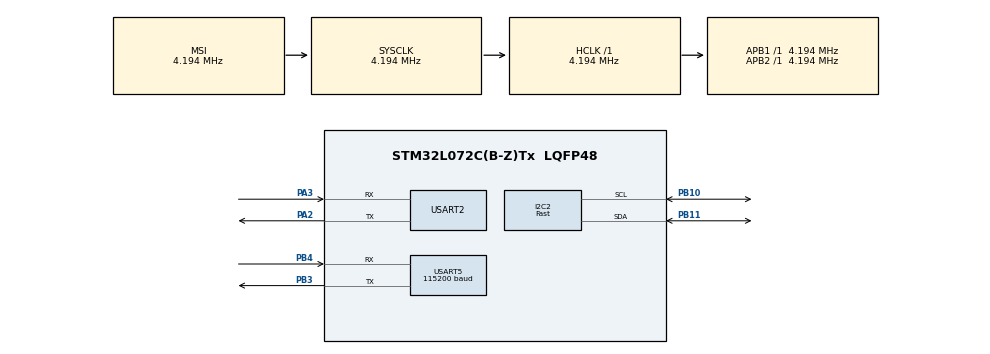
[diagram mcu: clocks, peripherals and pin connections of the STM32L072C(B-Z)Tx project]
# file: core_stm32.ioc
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CRC.CRCLength=CRC_POLYLENGTH_8B
CRC.DefaultInitValueUse=DEFAULT_INIT_VALUE_DISABLE
CRC.DefaultPolynomialUse=DEFAULT_POLYNOMIAL_DISABLE
CRC.GeneratingPolynomial=X2+X1+X0
CRC.InputDataInversionMode=CRC_INPUTDATA_INVERSION_NONE
Dma.Request0=USART5_RX
Dma.USART5_RX.0.Direction=DMA_PERIPH_TO_MEMORY
Dma.USART5_RX.0.Instance=DMA1_Channel2
Dma.USART5_RX.0.MemDataAlignment=DMA_MDATAALIGN_BYTE
Dma.USART5_RX.0.MemInc=DMA_MINC_ENABLE
Dma.USART5_RX.0.Mode=DMA_NORMAL
Dma.USART5_RX.0.PeriphDataAlignment=DMA_PDATAALIGN_BYTE
Dma.USART5_RX.0.PeriphInc=DMA_PINC_DISABLE
Dma.USART5_RX.0.Priority=DMA_PRIORITY_LOW
FREERTOS.Tasks01=app_rotulacao,24,128,app_rotulacao_func,Default,NULL,Dynamic,NULL,NULL;task_bt_receive,40,256,bt_receive_uart,As external,NULL,Dynamic,NULL,NULL
FREERTOS.configUSE_NEWLIB_REENTRANT=1
I2C2.I2C_Speed_Mode=I2C_Fast
I2C2.Timing=0x00000004
Mcu.Family=STM32L0
Mcu.Name=STM32L072C(B-Z)Tx
Mcu.Package=LQFP48
NVIC.DMA1_Channel2_3_IRQn=true\:3\:0\:false\:false\:true\:true\:false\:true\:true
NVIC.USART4_5_IRQn=true\:3\:0\:false\:false\:true\:true\:true\:true\:true
PA13.Mode=Serial_Wire
PA13.Signal=SYS_SWDIO
PA14.Mode=Serial_Wire
PA14.Signal=SYS_SWCLK
PA2.Mode=Asynchronous
PA2.Signal=USART2_TX
PA3.Mode=Asynchronous
PA3.Signal=USART2_RX
PB10.Mode=I2C
PB10.Signal=I2C2_SCL
PB11.Mode=I2C
PB11.Signal=I2C2_SDA
PB3.Mode=Asynchronous
PB3.Signal=USART5_TX
PB4.Mode=Asynchronous
PB4.Signal=USART5_RX
ProjectManager.HeapSize=0x200
ProjectManager.StackSize=0x400
ProjectManager.TargetToolchain=STM32CubeIDE
RCC.AHBFreq_Value=4194000
RCC.APB1Freq_Value=4194000
RCC.APB1TimFreq_Value=4194000
RCC.APB2Freq_Value=4194000
RCC.APB2TimFreq_Value=4194000
RCC.HCLKFreq_Value=4194000
RCC.HSE_VALUE=8000000
RCC.HSI16_VALUE=16000000
RCC.HSI48_VALUE=48000000
RCC.HSI_VALUE=16000000
RCC.LSE_VALUE=32768
RCC.MSIClockRange=RCC_MSIRANGE_6
RCC.MSI_VALUE=4194000
RCC.SYSCLKFreq_VALUE=4194000
RCC.VCOOutputFreq_Value=48000000
USART2.VirtualMode-Asynchronous=VM_ASYNC
USART5.BaudRate=115200
USART5.DMADisableonRxErrorParam=ADVFEATURE_DMA_DISABLEONRXERROR
USART5.OneBitSampling=UART_ONE_BIT_SAMPLE_DISABLE
USART5.OverrunDisableParam=ADVFEATURE_OVERRUN_DISABLE
USART5.Parity=PARITY_NONE
USART5.VirtualMode-Asynchronous=VM_ASYNC
USART5.WordLength=WORDLENGTH_8B
VP_CRC_VS_CRC.Mode=CRC_Activate
VP_FREERTOS_VS_CMSIS_V2.Mode=CMSIS_V2
board=custom

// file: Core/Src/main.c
/* USER CODE BEGIN Header */
/**
  ******************************************************************************
  * @file           : main.c
  * @brief          : Main program body
  ******************************************************************************
  * @attention
  *
  * Copyright (c) 2023 STMicroelectronics.
  * All rights reserved.
  *
  * This software is licensed under terms that can be found in the LICENSE file
  * in the root directory of this software component.
  * If no LICENSE file comes with this software, it is provided AS-IS.
  *
  ******************************************************************************
  */
/* USER CODE END Header */
#include "main.h"
#include "cmsis_os.h"

/* USER CODE BEGIN Includes */
#include <math.h>

#include "bt_assobio.h"
#include "bmx160.h"
/* USER CODE END Includes */

/* USER CODE BEGIN PM */
uint8_t uart_buff[6]; // Buff to holds the incoming data
/* USER CODE END PM */

CRC_HandleTypeDef hcrc;

I2C_HandleTypeDef hi2c2;

UART_HandleTypeDef huart2;
UART_HandleTypeDef huart5;
DMA_HandleTypeDef hdma_usart5_rx;

/* Definitions for app_rotulacao */
osThreadId_t app_rotulacaoHandle;
const osThreadAttr_t app_rotulacao_attributes = {
  .name = "app_rotulacao",
  .stack_size = 128 * 4,
  .priority = (osPriority_t) osPriorityNormal,
};
/* Definitions for task_bt_receive */
osThreadId_t task_bt_receiveHandle;
const osThreadAttr_t task_bt_receive_attributes = {
  .name = "task_bt_receive",
  .stack_size = 256 * 4,
  .priority = (osPriority_t) osPriorityHigh,
};

void SystemClock_Config(void);
static void MX_GPIO_Init(void);
static void MX_DMA_Init(void);
static void MX_USART5_UART_Init(void);
static void MX_I2C2_Init(void);
static void MX_USART2_UART_Init(void);
static void MX_CRC_Init(void);
void app_rotulacao_func(void *argument);
extern void bt_receive_uart(void *argument);

/* USER CODE BEGIN PFP */
void print_debug(const char *message);
/* USER CODE END PFP */

int main(void)
{

  /* MCU Configuration--------------------------------------------------------*/

  /* Reset of all peripherals, Initializes the Flash interface and the Systick. */
  HAL_Init();

  /* USER CODE BEGIN Init */

  print_debug("Main\r\n");

  /* USER CODE END Init */

  /* Configure the system clock */
  SystemClock_Config();

  /* Initialize all configured peripherals */
  MX_GPIO_Init();
  MX_DMA_Init();
  MX_USART5_UART_Init();
  MX_I2C2_Init();
  MX_USART2_UART_Init();
  MX_CRC_Init();
  /* USER CODE BEGIN 2 */
  HAL_UART_Receive_DMA(&huart5, uart_buff, 6);

  bt_assobio_stm32_parameters_s bluetooth;
  memset(&bluetooth, 0x00, sizeof(bt_assobio_stm32_parameters_s));
  bluetooth.uart = &huart5;
  bt_assobio_init(&bluetooth);
  bt_assobio_pair_mode();
  /* USER CODE END 2 */

  /* Init scheduler */
  osKernelInitialize();

  /* Create the thread(s) */
  /* creation of app_rotulacao */
  app_rotulacaoHandle = osThreadNew(app_rotulacao_func, NULL, &app_rotulacao_attributes);

  /* creation of task_bt_receive */
  task_bt_receiveHandle = osThreadNew(bt_receive_uart, NULL, &task_bt_receive_attributes);

  /* Start scheduler */
  osKernelStart();

  /* We should never get here as control is now taken by the scheduler */
  /* Infinite loop */
  while (1)
  {

  }
}

void SystemClock_Config(void)
{
  RCC_OscInitTypeDef RCC_OscInitStruct = {0};
  RCC_ClkInitTypeDef RCC_ClkInitStruct = {0};
  RCC_PeriphCLKInitTypeDef PeriphClkInit = {0};

  /** Configure the main internal regulator output voltage
  */
  __HAL_PWR_VOLTAGESCALING_CONFIG(PWR_REGULATOR_VOLTAGE_SCALE1);

  /** Initializes the RCC Oscillators according to the specified parameters
  * in the RCC_OscInitTypeDef structure.
  */
  RCC_OscInitStruct.OscillatorType = RCC_OSCILLATORTYPE_MSI;
  RCC_OscInitStruct.MSIState = RCC_MSI_ON;
  RCC_OscInitStruct.MSICalibrationValue = 0;
  RCC_OscInitStruct.MSIClockRange = RCC_MSIRANGE_6;
  RCC_OscInitStruct.PLL.PLLState = RCC_PLL_NONE;
  if (HAL_RCC_OscConfig(&RCC_OscInitStruct) != HAL_OK)
  {
    Error_Handler();
  }

  /** Initializes the CPU, AHB and APB buses clocks
  */
  RCC_ClkInitStruct.ClockType = RCC_CLOCKTYPE_HCLK|RCC_CLOCKTYPE_SYSCLK
                              |RCC_CLOCKTYPE_PCLK1|RCC_CLOCKTYPE_PCLK2;
  RCC_ClkInitStruct.SYSCLKSource = RCC_SYSCLKSOURCE_MSI;
  RCC_ClkInitStruct.AHBCLKDivider = RCC_SYSCLK_DIV1;
  RCC_ClkInitStruct.APB1CLKDivider = RCC_HCLK_DIV1;
  RCC_ClkInitStruct.APB2CLKDivider = RCC_HCLK_DIV1;

  if (HAL_RCC_ClockConfig(&RCC_ClkInitStruct, FLASH_LATENCY_0) != HAL_OK)
  {
    Error_Handler();
  }
  PeriphClkInit.PeriphClockSelection = RCC_PERIPHCLK_USART2;
  PeriphClkInit.Usart2ClockSelection = RCC_USART2CLKSOURCE_PCLK1;
  if (HAL_RCCEx_PeriphCLKConfig(&PeriphClkInit) != HAL_OK)
  {
    Error_Handler();
  }
}

static void MX_CRC_Init(void)
{

  hcrc.Instance = CRC;
  hcrc.Init.DefaultPolynomialUse = DEFAULT_POLYNOMIAL_DISABLE;
  hcrc.Init.DefaultInitValueUse = DEFAULT_INIT_VALUE_DISABLE;
  hcrc.Init.GeneratingPolynomial = 7;
  hcrc.Init.CRCLength = CRC_POLYLENGTH_8B;
  hcrc.Init.InitValue = 0;
  hcrc.Init.InputDataInversionMode = CRC_INPUTDATA_INVERSION_NONE;
  hcrc.Init.OutputDataInversionMode = CRC_OUTPUTDATA_INVERSION_DISABLE;
  hcrc.InputDataFormat = CRC_INPUTDATA_FORMAT_BYTES;
  if (HAL_CRC_Init(&hcrc) != HAL_OK)
  {
    Error_Handler();
  }

}

static void MX_I2C2_Init(void)
{

  hi2c2.Instance = I2C2;
  hi2c2.Init.Timing = 0x00000004;
  hi2c2.Init.OwnAddress1 = 0;
  hi2c2.Init.AddressingMode = I2C_ADDRESSINGMODE_7BIT;
  hi2c2.Init.DualAddressMode = I2C_DUALADDRESS_DISABLE;
  hi2c2.Init.OwnAddress2 = 0;
  hi2c2.Init.OwnAddress2Masks = I2C_OA2_NOMASK;
  hi2c2.Init.GeneralCallMode = I2C_GENERALCALL_DISABLE;
  hi2c2.Init.NoStretchMode = I2C_NOSTRETCH_DISABLE;
  if (HAL_I2C_Init(&hi2c2) != HAL_OK)
  {
    Error_Handler();
  }

  /** Configure Analogue filter
  */
  if (HAL_I2CEx_ConfigAnalogFilter(&hi2c2, I2C_ANALOGFILTER_ENABLE) != HAL_OK)
  {
    Error_Handler();
  }

  /** Configure Digital filter
  */
  if (HAL_I2CEx_ConfigDigitalFilter(&hi2c2, 0) != HAL_OK)
  {
    Error_Handler();
  }

}

static void MX_USART2_UART_Init(void)
{

  huart2.Instance = USART2;
  huart2.Init.BaudRate = 115200;
  huart2.Init.WordLength = UART_WORDLENGTH_8B;
  huart2.Init.StopBits = UART_STOPBITS_1;
  huart2.Init.Parity = UART_PARITY_NONE;
  huart2.Init.Mode = UART_MODE_TX_RX;
  huart2.Init.HwFlowCtl = UART_HWCONTROL_NONE;
  huart2.Init.OverSampling = UART_OVERSAMPLING_16;
  huart2.Init.OneBitSampling = UART_ONE_BIT_SAMPLE_DISABLE;
  huart2.AdvancedInit.AdvFeatureInit = UART_ADVFEATURE_NO_INIT;
  if (HAL_UART_Init(&huart2) != HAL_OK)
  {
    Error_Handler();
  }

}

static void MX_USART5_UART_Init(void)
{

  huart5.Instance = USART5;
  huart5.Init.BaudRate = 115200;
  huart5.Init.WordLength = UART_WORDLENGTH_8B;
  huart5.Init.StopBits = UART_STOPBITS_1;
  huart5.Init.Parity = UART_PARITY_NONE;
  huart5.Init.Mode = UART_MODE_TX_RX;
  huart5.Init.HwFlowCtl = UART_HWCONTROL_NONE;
  huart5.Init.OverSampling = UART_OVERSAMPLING_16;
  huart5.Init.OneBitSampling = UART_ONE_BIT_SAMPLE_DISABLE;
  huart5.AdvancedInit.AdvFeatureInit = UART_ADVFEATURE_RXOVERRUNDISABLE_INIT|UART_ADVFEATURE_DMADISABLEONERROR_INIT;
  huart5.AdvancedInit.OverrunDisable = UART_ADVFEATURE_OVERRUN_DISABLE;
  huart5.AdvancedInit.DMADisableonRxError = UART_ADVFEATURE_DMA_DISABLEONRXERROR;
  if (HAL_UART_Init(&huart5) != HAL_OK)
  {
    Error_Handler();
  }

}

static void MX_DMA_Init(void)
{

  /* DMA controller clock enable */
  __HAL_RCC_DMA1_CLK_ENABLE();

  /* DMA interrupt init */
  /* DMA1_Channel2_3_IRQn interrupt configuration */
  HAL_NVIC_SetPriority(DMA1_Channel2_3_IRQn, 3, 0);
  HAL_NVIC_EnableIRQ(DMA1_Channel2_3_IRQn);

}

static void MX_GPIO_Init(void)
{

  /* GPIO Ports Clock Enable */
  __HAL_RCC_GPIOA_CLK_ENABLE();
  __HAL_RCC_GPIOB_CLK_ENABLE();

}

/* USER CODE BEGIN 4 */
void HAL_UART_RxCpltCallback(UART_HandleTypeDef *huart)
{
    // Keep add new if statement whenever a new UART interface is added and call the needed function

    if (huart == &huart5) {
        osMessageQueuePut(bt_receive_queue_handle, &uart_buff, 0, 0);
        HAL_UART_Receive_DMA(&huart5, uart_buff, 6);
    }
}

void print_debug(const char *message) {
    HAL_UART_Transmit(&huart2, (uint8_t *) message, strlen(message), HAL_MAX_DELAY);
}
/* USER CODE END 4 */

void app_rotulacao_func(void *argument)
{
  /* USER CODE BEGIN 5 */

  print_debug("Enter app rotulacao\r\n");
  print_debug("Set structures and variables\r\n");

  bool mes_tog0 = true;
  bool mes_tog1 = true;

  bt_assobio_bmx160_data_s data_struct_sender;
  uint16_t len_data = sizeof(bt_assobio_bmx160_data_s);

  bmx160_set_i2c(&hi2c2);
  bmx160_begin();

  print_debug("End settings\r\n");
  print_debug("Start infinite loop\r\n");
  /* Infinite loop */
  while (true) {
    if (assobio_mode == 1) {
      if (mes_tog0) {
        print_debug("Mode Rotulacao on\r\n");
        mes_tog0 = false;
        mes_tog1 = true;
      }
        bmx160_getAllData(&data_struct_sender.magn, &data_struct_sender.gyro, &data_struct_sender.accel);
        bt_send_uart((uint8_t *) &data_struct_sender, len_data);
      } else if (mes_tog1) {
        print_debug("Mode Rotulacao off\r\n");
        mes_tog0 = true;
        mes_tog1 = false;
    }
  }
  /* USER CODE END 5 */
}

void Error_Handler(void)
{
  __disable_irq();
  while (1)
  {
  }
}
